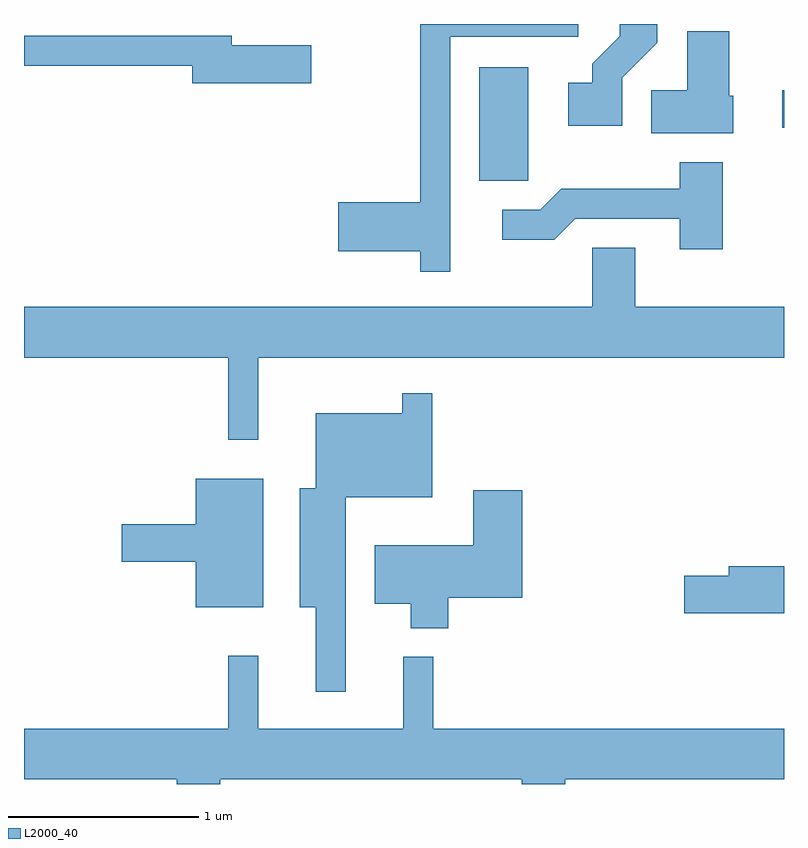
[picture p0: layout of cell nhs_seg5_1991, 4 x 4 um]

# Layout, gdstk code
import gdstk
lib = gdstk.Library(unit=1e-6, precision=1e-09)
def R(c, l, rs):  # rectangles x0, y0, x1, y1
    for r in rs: c.add(gdstk.rectangle(r[:2], r[2:], *l))
def P(c, l, *ps):  # polygons
    for p in ps: c.add(gdstk.Polygon(p, *l))
L2000_40 = (2000, 40)

nhs_seg5_1991 = lib.new_cell('nhs_seg5_1991')
R(nhs_seg5_1991, L2000_40, [(246.006,1493.246,246.264,1493.844), (247.601,1493.526,247.611,1493.724)])
P(nhs_seg5_1991, L2000_40, [(246.759,1493.789),(246.944,1493.974),(246.944,1494.072),(246.746,1494.072),(246.746,1494.007),(246.601,1493.862),(246.601,1493.764),(246.476,1493.764),(246.476,1493.536),(246.759,1493.536)],
  [(245.854,1494.006),(246.528,1494.006),(246.528,1494.072),(245.696,1494.072),(245.696,1493.134),(245.266,1493.134),(245.266,1492.876),(245.696,1492.876),(245.696,1492.768),(245.854,1492.768)],
  [(247.344,1493.694),(247.324,1493.694),(247.324,1494.034),(247.101,1494.034),(247.101,1493.724),(246.911,1493.724),(246.911,1493.496),(247.344,1493.496)],
  [(245.124,1493.959),(244.704,1493.959),(244.704,1494.009),(243.611,1494.009),(243.611,1493.851),(244.496,1493.851),(244.496,1493.761),(245.124,1493.761)],
  [(247.289,1493.344),(247.061,1493.344),(247.061,1493.204),(246.439,1493.204),(246.329,1493.094),(246.128,1493.094),(246.128,1492.936),(246.402,1492.936),(246.512,1493.046),(247.061,1493.046),(247.061,1492.886),(247.289,1492.886)],
  [(244.844,1492.316),(247.611,1492.316),(247.611,1492.584),(246.829,1492.584),(246.829,1492.894),(246.601,1492.894),(246.601,1492.584),(243.611,1492.584),(243.611,1492.316),(244.686,1492.316),(244.686,1491.883),(244.844,1491.883)],
  [(245.304,1491.581),(245.759,1491.581),(245.759,1492.128),(245.601,1492.128),(245.601,1492.024),(245.146,1492.024),(245.146,1491.629),(245.061,1491.629),(245.061,1491.001),(245.146,1491.001),(245.146,1490.558),(245.304,1490.558)],
  [(244.869,1491.679),(244.516,1491.679),(244.516,1491.439),(244.126,1491.439),(244.126,1491.241),(244.516,1491.241),(244.516,1491.001),(244.869,1491.001)],
  [(245.844,1491.051),(246.234,1491.051),(246.234,1491.619),(245.976,1491.619),(245.976,1491.329),(245.456,1491.329),(245.456,1491.021),(245.646,1491.021),(245.646,1490.891),(245.844,1490.891)],
  [(247.611,1491.219),(247.321,1491.219),(247.321,1491.169),(247.086,1491.169),(247.086,1490.971),(247.611,1490.971)],
  [(244.644,1490.096),(246.231,1490.096),(246.231,1490.072),(246.459,1490.072),(246.459,1490.096),(247.611,1490.096),(247.611,1490.364),(245.764,1490.364),(245.764,1490.743),(245.606,1490.743),(245.606,1490.364),(244.844,1490.364),(244.844,1490.748),(244.686,1490.748),(244.686,1490.364),(243.611,1490.364),(243.611,1490.096),(244.416,1490.096),(244.416,1490.072),(244.644,1490.072)])

lib.write_gds('nhs_seg5_1991.gds')
